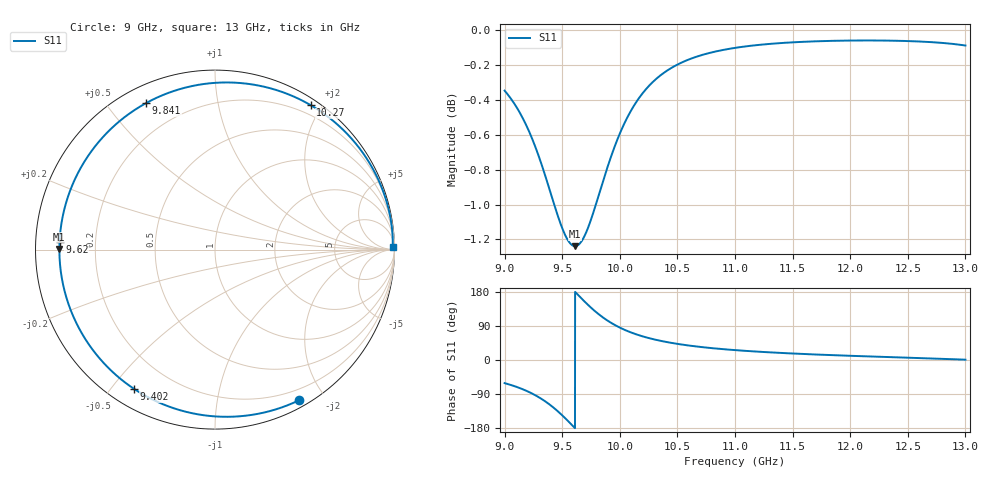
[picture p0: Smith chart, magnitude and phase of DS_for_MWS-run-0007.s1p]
! TOUCHSTONE file generated by CST DESIGN STUDIO
! Date and time: Wed Feb  5 13:39:14 2025
! Project name: C:\Work\MatlabApps\UnitCellOptimizationMatlab\CST\unitcell.cst
! Tree item: Tasks\Sweep1\SPara1\S-Parameters
! Header version: 2024
! Port assignment regex: !\s*Touchstone port\s*([0-9]+)\s*=\s*(CST MWS port|CST DES external port|CST DES block port)\s*(.+)\s* \(\"(.*)\"\)(\s*mode\s*([0-9]+))?.*
! Touchstone port assignment:
! Touchstone port 1 = CST DES external port 1 ("")
# GHz S MA R 50
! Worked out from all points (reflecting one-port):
!   4001 points, 9 GHz to 13 GHz, reference 50 ohm
!   lowest |S11| = -1.2 dB at 9.612 GHz (marker M1), VSWR 14.05, Z = 3.56 + j0.103 ohm
!   phase of S11 starts at -61 deg and turns -298 deg over the sweep
!   S11 on the Smith chart (normalised r, x): 9 GHz: 0.08, -1.69; 9.402 GHz: 0.07, -0.57; 9.62 GHz: 0.07, +0.02; 9.841 GHz: 0.07, +0.63; 10.27 GHz: 0.08, +1.86; 13 GHz: open
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9  0.961 -61.0
9.052  0.9562 -65.7
9.124  0.9481 -73.2
9.247  0.9295 -89.8
9.33  0.9133 -104.5
9.402  0.8976 -120.1
9.451  0.8869 -132.4
9.5  0.8775 -146.0
9.558  0.8696 -163.3
9.612  0.8671 179.8
9.62  0.8671 177.2
9.676  0.8707 159.8
9.738  0.8802 141.4
9.789  0.8906 127.7
9.841  0.9021 115.1
9.915  0.9182 99.8
10  0.9341 85.5
10.062  0.9437 77.0
10.127  0.952 69.4
10.269  0.9652 56.5
10.377  0.9721 49.2
10.5  0.9777 42.5
10.72  0.984 33.8
11  0.9885 26.1
11.5  0.9922 17.2
12  0.9933 11.1
12.5  0.993 6.1
13  0.9901 0.8
